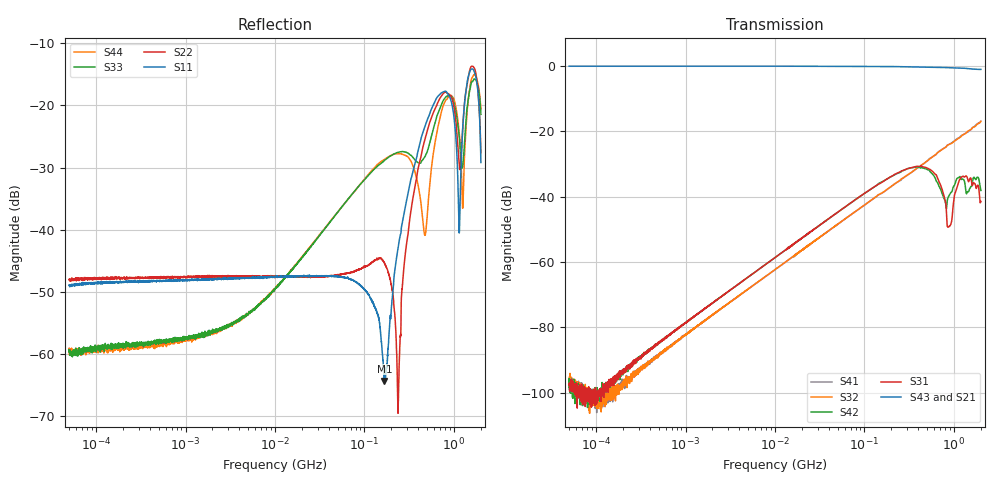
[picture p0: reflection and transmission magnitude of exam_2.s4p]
#  HZ  S  RI  R  50.00
! Rohde & Schwarz Vector Network Analyzer
! Rohde-Schwarz,ZNB8-4Port,1311601044102771,3.45
! Created: UTC 10/24/2024, 3:26:41 PM
!The following Port Impedance Renormalization has been used when saving the data.
!PortZ  Port1:50+j0  Port2:50+j0  Port3:50+j0  Port4:50+j0
! freq[Hz]  re:S11  im:S11  re:S12  im:S12  re:S13  im:S13  re:S14  im:S14
!  re:S21  im:S21  re:S22  im:S22  re:S23  im:S23  re:S24  im:S24
!  re:S31  im:S31  re:S32  im:S32  re:S33  im:S33  re:S34  im:S34
!  re:S41  im:S41  re:S42  im:S42  re:S43  im:S43  re:S44  im:S44
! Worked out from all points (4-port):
!   4001 points, 50 kHz to 2 GHz, reference 50 ohm
!   strongest paths, dB at 50 kHz, 707.1 kHz, 10 MHz, 141.4 MHz, 2 GHz:
!     S43: 0.0, 0.0, 0.0, -0.1, -1.0
!     S21: 0.0, 0.0, 0.0, -0.1, -1.0
!     S31: -97.4, -81.8, -58.6, -36.3, -41.4
!     S42: -98.3, -81.6, -58.6, -36.2, -38.1
!     S32: -97.2, -85.4, -62.3, -39.5, -16.9
!     S41: -96.3, -85.3, -62.4, -39.5, -16.8
!   lowest |S11| = -64.4 dB at 167.1 MHz (marker M1), VSWR 1.00, Z = 50 + j0.0528 ohm
!   |S11| at or under -10 dB: start of sweep to end of sweep
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50000  0.00358 0.000339  0.9968 -0.000153  1.1e-05 -7.16e-06  -1.21e-05 8.32e-06
       0.997 -0.000121  0.00393 0.000292  -1.15e-05 6.7e-06  1.21e-05 -5.46e-06
       1.17e-05 -6.66e-06  -1.12e-05 8.07e-06  0.00103 0.000288  0.9999 -0.000276
       -1.21e-05 9.32e-06  8.79e-06 -8.31e-06  1.001 -4.64e-05  0.0011 0.000165
1.671081e8  0.000296 0.000527  0.7336 -0.6654  0.012 0.0129  -0.00854 -0.00866
            0.733 -0.6657  0.00492 0.00227  -0.00846 -0.00861  0.0122 0.0128
            0.012 0.0129  -0.00846 -0.00866  0.0221 0.0285  0.7374 -0.662
            -0.00835 -0.00862  0.0121 0.0129  0.7368 -0.6622  0.0285 0.0233
2.402249e8  -0.00753 0.000612  0.4856 -0.8579  0.0207 0.0112  -0.0153 -0.00795
            0.4861 -0.8591  -0.000397 0.000295  -0.0153 -0.00802  0.0203 0.0112
            0.0206 0.0112  -0.0152 -0.00809  0.0323 0.027  0.4931 -0.8537
            -0.0151 -0.00807  0.0203 0.0113  0.4928 -0.8535  0.0379 0.0153
6.894821e8  0.0239 0.1196  -0.9461 -0.138  0.00427 -0.0157  -0.0079 0.0493
            -0.9463 -0.1386  -0.0236 0.1103  -0.00744 0.0493  0.00838 -0.0116
            0.0046 -0.0158  -0.00746 0.0493  0.0404 0.0836  -0.946 -0.1609
            -0.00814 0.0495  0.00769 -0.0117  -0.9461 -0.1601  -0.0265 0.072
1.096133e9  0.0305 -0.000368  0.0347 0.9384  0.0154 0.000843  0.0781 -0.00269
            0.0349 0.9393  0.0411 0.0299  0.0768 -0.00301  0.016 -0.00716
            0.0147 0.00116  0.0769 -0.00304  0.0726 0.00478  -0.0036 0.9416
            0.0782 -0.00277  0.0174 -0.00826  -0.00311 0.9403  0.0755 0.0266
1.490469e9  0.0436 0.179  0.8939 -0.1549  0.0104 -0.0138  -0.0134 -0.102
            0.8932 -0.1534  0.0424 0.1835  -0.0162 -0.1032  0.0101 -0.0111
            0.0116 -0.0141  -0.0163 -0.1031  0.0613 0.1136  0.9101 -0.1093
            -0.0137 -0.1023  0.00955 -0.00897  0.911 -0.1087  0.000707 0.1321
2e9  0.0308 -0.0162  -0.6351 -0.6273  0.000795 -0.0105  -0.1068 0.0975
     -0.6359 -0.6271  0.0411 -0.00529  -0.1045 0.0973  0.000978 -0.0113
     0.00124 -0.00839  -0.1046 0.097  0.0514 -0.0676  -0.5884 -0.6731
     -0.1063 0.0975  -0.0019 -0.0123  -0.5886 -0.6722  0.093 -0.0128
